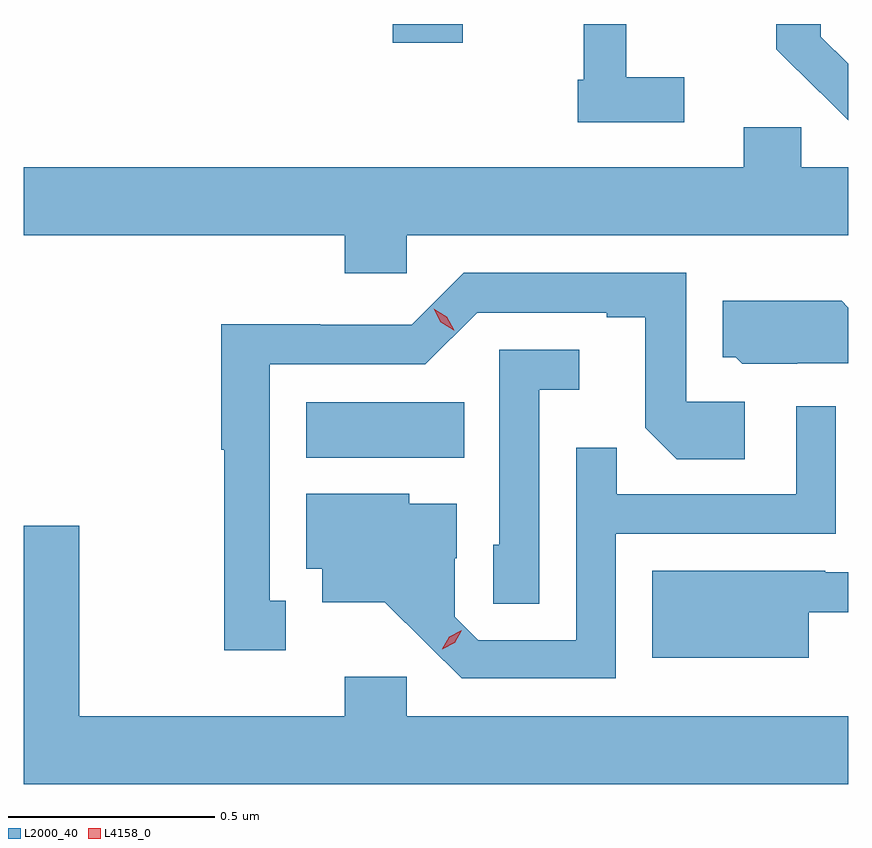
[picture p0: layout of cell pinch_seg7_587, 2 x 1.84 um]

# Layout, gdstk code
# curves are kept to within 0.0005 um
import gdstk
lib = gdstk.Library(unit=1e-6, precision=1e-09)
def R(c, l, rs):  # rectangles x0, y0, x1, y1
    for r in rs: c.add(gdstk.rectangle(r[:2], r[2:], *l))
def P(c, l, *ps):  # polygons
    for p in ps: c.add(gdstk.Polygon(p, *l))
L2000_40 = (2000, 40)
L4158_0 = (4158, 0)

pinch_seg7_587 = lib.new_cell('pinch_seg7_587')
R(pinch_seg7_587, L2000_40, [(136.262,1053.356,136.646,1053.49), (136.472,1054.362,136.642,1054.408)])
P(pinch_seg7_587, L2000_40, [(137.577,1054.312),(137.511,1054.377),(137.511,1054.408),(137.403,1054.408),(137.403,1054.347),(137.508,1054.242),(137.509,1054.243),(137.577,1054.175)],
  [(137.179,1054.279),(137.039,1054.279),(137.039,1054.408),(136.936,1054.408),(136.936,1054.273),(136.921,1054.273),(136.921,1054.17),(137.179,1054.17)],
  [(136.506,1053.896),(137.577,1053.896),(137.577,1054.06),(137.463,1054.06),(137.463,1054.158),(137.324,1054.158),(137.324,1054.06),(135.577,1054.06),(135.577,1053.896),(136.355,1053.896),(136.355,1053.803),(136.506,1053.803)],
  [(136.213,1053.009),(136.174,1053.009),(136.174,1053.582),(136.551,1053.582),(136.677,1053.708),(136.991,1053.708),(136.991,1053.696),(137.085,1053.696),(137.085,1053.428),(137.161,1053.352),(137.326,1053.352),(137.326,1053.492),(137.184,1053.492),(137.184,1053.804),(136.644,1053.804),(136.518,1053.678),(136.296,1053.678),(136.296,1053.68),(136.056,1053.68),(136.056,1053.375),(136.063,1053.375),(136.063,1052.889),(136.213,1052.889)],
  [(137.454,1053.585),(137.577,1053.585),(137.577,1053.72),(137.561,1053.736),(137.273,1053.736),(137.273,1053.6),(137.304,1053.6),(137.32,1053.584),(137.454,1053.584)],
  [(136.827,1053.521),(136.924,1053.521),(136.924,1053.618),(136.731,1053.618),(136.731,1053.144),(136.716,1053.144),(136.716,1053.001),(136.827,1053.001)],
  [(137.013,1053.171),(137.547,1053.171),(137.547,1053.481),(137.451,1053.481),(137.451,1053.267),(137.015,1053.267),(137.015,1053.38),(136.917,1053.38),(136.917,1052.913),(136.68,1052.913),(136.623,1052.97),(136.623,1053.112),(136.627,1053.112),(136.627,1053.244),(136.512,1053.244),(136.512,1053.268),(136.262,1053.268),(136.262,1053.086),(136.301,1053.086),(136.301,1053.005),(136.453,1053.005),(136.64,1052.82),(137.013,1052.82)],
  [(137.577,1052.728),(136.506,1052.728),(136.506,1052.824),(136.355,1052.824),(136.355,1052.728),(135.711,1052.728),(135.711,1053.19),(135.577,1053.19),(135.577,1052.564),(137.577,1052.564)],
  [(137.482,1052.981),(137.577,1052.981),(137.577,1053.078),(137.522,1053.078),(137.522,1053.082),(137.102,1053.082),(137.102,1052.87),(137.482,1052.87)])
P(pinch_seg7_587, L4158_0, [(136.592,1052.891),(136.592,1052.892),(136.609,1052.921),(136.639,1052.937),(136.639,1052.937),(136.639,1052.937),(136.623,1052.907),(136.592,1052.891)],
  [(136.62,1053.665),(136.589,1053.684),(136.571,1053.717),(136.571,1053.717),(136.572,1053.717),(136.603,1053.698),(136.621,1053.665),(136.621,1053.665)])

lib.write_gds('pinch_seg7_587.gds')
